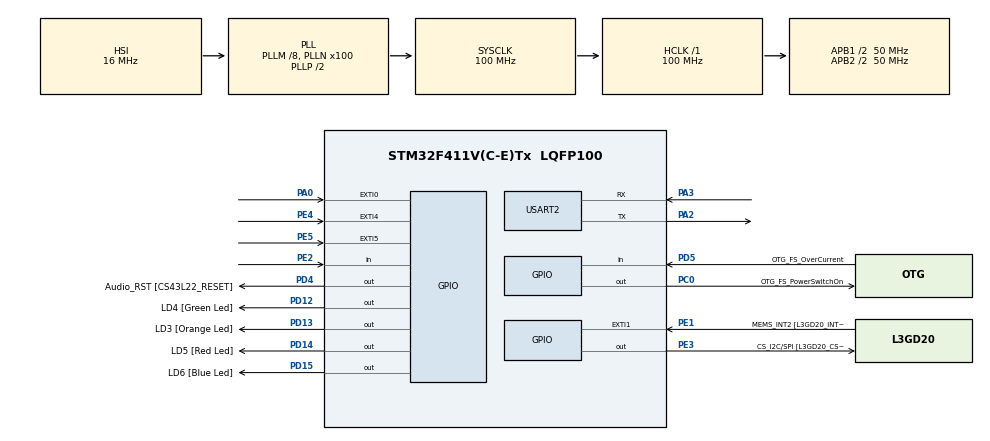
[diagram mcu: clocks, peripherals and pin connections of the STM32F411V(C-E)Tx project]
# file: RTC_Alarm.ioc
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Dma.Request0=USART2_RX
Dma.USART2_RX.0.Direction=DMA_PERIPH_TO_MEMORY
Dma.USART2_RX.0.FIFOMode=DMA_FIFOMODE_DISABLE
Dma.USART2_RX.0.Instance=DMA1_Stream5
Dma.USART2_RX.0.MemDataAlignment=DMA_MDATAALIGN_BYTE
Dma.USART2_RX.0.MemInc=DMA_MINC_ENABLE
Dma.USART2_RX.0.Mode=DMA_NORMAL
Dma.USART2_RX.0.PeriphDataAlignment=DMA_PDATAALIGN_BYTE
Dma.USART2_RX.0.PeriphInc=DMA_PINC_DISABLE
Dma.USART2_RX.0.Priority=DMA_PRIORITY_LOW
Mcu.Family=STM32F4
Mcu.Name=STM32F411V(C-E)Tx
Mcu.Package=LQFP100
NVIC.DMA1_Stream5_IRQn=true\:0\:0\:false\:false\:true\:false
NVIC.PriorityGroup=NVIC_PRIORITYGROUP_0
NVIC.RTC_Alarm_IRQn=true\:0\:0\:false\:false\:true\:true
PA0-WKUP.GPIO_ModeDefaultEXTI=GPIO_MODE_EVT_RISING
PA0-WKUP.Signal=GPXTI0
PA2.Mode=Asynchronous
PA2.Signal=USART2_TX
PA3.Mode=Asynchronous
PA3.Signal=USART2_RX
PC0.GPIO_Label=OTG_FS_PowerSwitchOn
PC0.PinState=GPIO_PIN_SET
PC0.Signal=GPIO_Output
PC14-OSC32_IN.Mode=LSE-External-Clock-Source
PC14-OSC32_IN.Signal=RCC_OSC32_IN
PC15-OSC32_OUT.Mode=LSE-External-Clock-Source
PC15-OSC32_OUT.Signal=RCC_OSC32_OUT
PD12.GPIO_Label=LD4 [Green Led]
PD12.GPIO_PuPd=GPIO_NOPULL
PD12.GPIO_Speed=GPIO_SPEED_FREQ_LOW
PD12.Signal=GPIO_Output
PD13.GPIO_Label=LD3 [Orange Led]
PD13.GPIO_PuPd=GPIO_NOPULL
PD13.GPIO_Speed=GPIO_SPEED_FREQ_LOW
PD13.Signal=GPIO_Output
PD14.GPIO_Label=LD5 [Red Led]
PD14.GPIO_PuPd=GPIO_NOPULL
PD14.GPIO_Speed=GPIO_SPEED_FREQ_LOW
PD14.Signal=GPIO_Output
PD15.GPIO_Label=LD6 [Blue Led]
PD15.GPIO_PuPd=GPIO_NOPULL
PD15.GPIO_Speed=GPIO_SPEED_FREQ_LOW
PD15.Signal=GPIO_Output
PD4.GPIO_Label=Audio_RST [CS43L22_RESET]
PD4.Signal=GPIO_Output
PD5.GPIO_Label=OTG_FS_OverCurrent
PD5.Signal=GPIO_Input
PE1.GPIO_Label=MEMS_INT2 [L3GD20_INT2]
PE1.GPIO_ModeDefaultEXTI=GPIO_MODE_EVT_RISING
PE1.Signal=GPXTI1
PE2.Signal=GPIO_Input
PE3.GPIO_Label=CS_I2C/SPI [L3GD20_CS_I2C/SPI]
PE3.Signal=GPIO_Output
PE4.GPIO_ModeDefaultEXTI=GPIO_MODE_EVT_RISING
PE4.Signal=GPXTI4
PE5.GPIO_ModeDefaultEXTI=GPIO_MODE_EVT_RISING
PE5.Signal=GPXTI5
ProjectManager.HeapSize=0x200
ProjectManager.StackSize=0x400
ProjectManager.TargetToolchain=SW4STM32
RCC.48MHZClocksFreq_Value=25000000
RCC.AHBFreq_Value=100000000
RCC.APB1CLKDivider=RCC_HCLK_DIV2
RCC.APB1Freq_Value=50000000
RCC.APB1TimFreq_Value=100000000
RCC.APB2CLKDivider=RCC_HCLK_DIV2
RCC.APB2Freq_Value=50000000
RCC.APB2TimFreq_Value=100000000
RCC.CortexFreq_Value=100000000
RCC.HCLKFreq_Value=100000000
RCC.HSE_VALUE=8000000
RCC.HSI_VALUE=16000000
RCC.LSE_VALUE=32768
RCC.PLLI2SM=5
RCC.PLLI2SN=200
RCC.PLLM=8
RCC.PLLN=100
RCC.PLLQ=8
RCC.SYSCLKFreq_VALUE=100000000
RCC.SYSCLKSource=RCC_SYSCLKSOURCE_PLLCLK
RCC.VCOOutputFreq_Value=200000000
RTC.Alarm=RTC_ALARM_A
RTC.Date=12
RTC.Format=RTC_FORMAT_BIN
RTC.Hours=23
RTC.Minutes=59
RTC.Month=RTC_MONTH_JULY
RTC.Seconds=45
RTC.Seconds_A=10
RTC.WeekDay=RTC_WEEKDAY_THURSDAY
RTC.Year=18
USART2.VirtualMode=VM_ASYNC
VP_RTC_VS_RTC_Activate.Mode=RTC_Enabled
VP_RTC_VS_RTC_Alarm_A_Intern.Mode=Alarm A
VP_RTC_VS_RTC_Calendar.Mode=RTC_Calendar
board=32F411EDISCOVERY

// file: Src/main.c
/**
  ******************************************************************************
  * @file           : main.c
  * @brief          : Main program body
  ******************************************************************************
  ** This notice applies to any and all portions of this file
  * that are not between comment pairs USER CODE BEGIN and
  * USER CODE END. Other portions of this file, whether
  * inserted by the user or by software development tools
  * are owned by their respective copyright owners.
  *
  * COPYRIGHT(c) 2018 STMicroelectronics
  *
  * Redistribution and use in source and binary forms, with or without modification,
  * are permitted provided that the following conditions are met:
  *   1. Redistributions of source code must retain the above copyright notice,
  *      this list of conditions and the following disclaimer.
  *   2. Redistributions in binary form must reproduce the above copyright notice,
  *      this list of conditions and the following disclaimer in the documentation
  *      and/or other materials provided with the distribution.
  *   3. Neither the name of STMicroelectronics nor the names of its contributors
  *      may be used to endorse or promote products derived from this software
  *      without specific prior written permission.
  *
  * THIS SOFTWARE IS PROVIDED BY THE COPYRIGHT HOLDERS AND CONTRIBUTORS "AS IS"
  * AND ANY EXPRESS OR IMPLIED WARRANTIES, INCLUDING, BUT NOT LIMITED TO, THE
  * IMPLIED WARRANTIES OF MERCHANTABILITY AND FITNESS FOR A PARTICULAR PURPOSE ARE
  * DISCLAIMED. IN NO EVENT SHALL THE COPYRIGHT HOLDER OR CONTRIBUTORS BE LIABLE
  * FOR ANY DIRECT, INDIRECT, INCIDENTAL, SPECIAL, EXEMPLARY, OR CONSEQUENTIAL
  * DAMAGES (INCLUDING, BUT NOT LIMITED TO, PROCUREMENT OF SUBSTITUTE GOODS OR
  * SERVICES; LOSS OF USE, DATA, OR PROFITS; OR BUSINESS INTERRUPTION) HOWEVER
  * CAUSED AND ON ANY THEORY OF LIABILITY, WHETHER IN CONTRACT, STRICT LIABILITY,
  * OR TORT (INCLUDING NEGLIGENCE OR OTHERWISE) ARISING IN ANY WAY OUT OF THE USE
  * OF THIS SOFTWARE, EVEN IF ADVISED OF THE POSSIBILITY OF SUCH DAMAGE.
  *
  ******************************************************************************
  */
#include "main.h"
#include "stm32f4xx_hal.h"

/* USER CODE BEGIN Includes */
#include <string.h>
/* USER CODE END Includes */

RTC_HandleTypeDef hrtc;

UART_HandleTypeDef huart2;
DMA_HandleTypeDef hdma_usart2_rx;

/* USER CODE BEGIN PV */
/* Private variables ---------------------------------------------------------*/

/* USER CODE END PV */

void SystemClock_Config(void);
static void MX_GPIO_Init(void);
static void MX_DMA_Init(void);
static void MX_RTC_Init(void);
static void MX_USART2_UART_Init(void);

/* USER CODE BEGIN PFP */
/* Private function prototypes -----------------------------------------------*/

/* USER CODE END PFP */

int main(void)
{

  /* MCU Configuration----------------------------------------------------------*/

  /* Reset of all peripherals, Initializes the Flash interface and the Systick. */
  HAL_Init();

  /* Configure the system clock */
  SystemClock_Config();

  /* Initialize all configured peripherals */
  MX_GPIO_Init();
  MX_DMA_Init();
  MX_RTC_Init();
  MX_USART2_UART_Init();
  /* USER CODE BEGIN 2 */

  RTC_TimeTypeDef sTime;
  RTC_DateTypeDef sDate;

  sTime.Hours = 23;
  sTime.Minutes = 59;
  sTime.Seconds = 45;
  sTime.DayLightSaving = RTC_DAYLIGHTSAVING_NONE;
  sTime.StoreOperation = RTC_STOREOPERATION_RESET;
  if (HAL_RTC_SetTime(&hrtc, &sTime, RTC_FORMAT_BIN) != HAL_OK)
  {
    _Error_Handler(__FILE__, __LINE__);
  }

  sDate.WeekDay = RTC_WEEKDAY_THURSDAY;
  sDate.Month = RTC_MONTH_JULY;
  sDate.Date = 12;
  sDate.Year = 18;

  if (HAL_RTC_SetDate(&hrtc, &sDate, RTC_FORMAT_BIN) != HAL_OK)
  {
    _Error_Handler(__FILE__, __LINE__);
  }
  /* USER CODE END 2 */

  /* Infinite loop */
  while (1)
  {

  /* USER CODE BEGIN 3 */
	  HAL_RTC_GetTime(&hrtc, &sTime, RTC_FORMAT_BIN);
	  HAL_RTC_GetDate(&hrtc, &sDate, RTC_FORMAT_BIN);

	  uint8_t txData[30];
	  char seconds[5];
	  char minutes[5];
	  char hours[5];

	  sprintf(seconds, "%d", sTime.Seconds);
	  sprintf(minutes, "%d", sTime.Minutes);
	  sprintf(hours, "%d", sTime.Hours);

	  if(sTime.Seconds < 10) {
		  sprintf(seconds, "0%d", sTime.Seconds);
	  }

	  if(sTime.Minutes < 10) {
		  sprintf(minutes, "0%d", sTime.Minutes);
	  }

	  if(sTime.Hours < 10) {
		  sprintf(hours, "0%d", sTime.Hours);
	  }

	  char day[5];
	  char month[5];
	  char year[5];

	  sprintf(day, "%d", sDate.Date);
	  sprintf(month, "%d", sDate.Month);
	  sprintf(year, "%d", sDate.Year);

	  if(sDate.Date < 10) {
		  sprintf(day, "0%d", sDate.Date);
	  }

	  if(sDate.Month < 10) {
		  sprintf(month, "0%d", sDate.Month);
	  }

	  if(sDate.Year< 10) {
		  sprintf(year, "0%d", sDate.Year);
	  }

	  uint16_t size = sprintf(txData, "%s:%s:%s %s:%s:%s \r", day, month, year, hours, minutes, seconds);

	  HAL_UART_Transmit(&huart2, txData, size, 20);
	  HAL_Delay(1000);

  }
  /* USER CODE END 3 */

}

void SystemClock_Config(void)
{

  RCC_OscInitTypeDef RCC_OscInitStruct;
  RCC_ClkInitTypeDef RCC_ClkInitStruct;
  RCC_PeriphCLKInitTypeDef PeriphClkInitStruct;

    /**Configure the main internal regulator output voltage
    */
  __HAL_RCC_PWR_CLK_ENABLE();

  __HAL_PWR_VOLTAGESCALING_CONFIG(PWR_REGULATOR_VOLTAGE_SCALE1);

    /**Initializes the CPU, AHB and APB busses clocks
    */
  RCC_OscInitStruct.OscillatorType = RCC_OSCILLATORTYPE_HSI|RCC_OSCILLATORTYPE_LSI;
  RCC_OscInitStruct.HSIState = RCC_HSI_ON;
  RCC_OscInitStruct.HSICalibrationValue = 16;
  RCC_OscInitStruct.LSIState = RCC_LSI_ON;
  RCC_OscInitStruct.PLL.PLLState = RCC_PLL_ON;
  RCC_OscInitStruct.PLL.PLLSource = RCC_PLLSOURCE_HSI;
  RCC_OscInitStruct.PLL.PLLM = 8;
  RCC_OscInitStruct.PLL.PLLN = 100;
  RCC_OscInitStruct.PLL.PLLP = RCC_PLLP_DIV2;
  RCC_OscInitStruct.PLL.PLLQ = 8;
  if (HAL_RCC_OscConfig(&RCC_OscInitStruct) != HAL_OK)
  {
    _Error_Handler(__FILE__, __LINE__);
  }

    /**Initializes the CPU, AHB and APB busses clocks
    */
  RCC_ClkInitStruct.ClockType = RCC_CLOCKTYPE_HCLK|RCC_CLOCKTYPE_SYSCLK
                              |RCC_CLOCKTYPE_PCLK1|RCC_CLOCKTYPE_PCLK2;
  RCC_ClkInitStruct.SYSCLKSource = RCC_SYSCLKSOURCE_PLLCLK;
  RCC_ClkInitStruct.AHBCLKDivider = RCC_SYSCLK_DIV1;
  RCC_ClkInitStruct.APB1CLKDivider = RCC_HCLK_DIV2;
  RCC_ClkInitStruct.APB2CLKDivider = RCC_HCLK_DIV2;

  if (HAL_RCC_ClockConfig(&RCC_ClkInitStruct, FLASH_LATENCY_3) != HAL_OK)
  {
    _Error_Handler(__FILE__, __LINE__);
  }

  PeriphClkInitStruct.PeriphClockSelection = RCC_PERIPHCLK_RTC;
  PeriphClkInitStruct.RTCClockSelection = RCC_RTCCLKSOURCE_LSI;
  if (HAL_RCCEx_PeriphCLKConfig(&PeriphClkInitStruct) != HAL_OK)
  {
    _Error_Handler(__FILE__, __LINE__);
  }

    /**Configure the Systick interrupt time
    */
  HAL_SYSTICK_Config(HAL_RCC_GetHCLKFreq()/1000);

    /**Configure the Systick
    */
  HAL_SYSTICK_CLKSourceConfig(SYSTICK_CLKSOURCE_HCLK);

  /* SysTick_IRQn interrupt configuration */
  HAL_NVIC_SetPriority(SysTick_IRQn, 0, 0);
}

/* RTC init function */
static void MX_RTC_Init(void)
{

  RTC_TimeTypeDef sTime;
  RTC_DateTypeDef sDate;
  RTC_AlarmTypeDef sAlarm;

    /**Initialize RTC Only
    */
  hrtc.Instance = RTC;
  hrtc.Init.HourFormat = RTC_HOURFORMAT_24;
  hrtc.Init.AsynchPrediv = 127;
  hrtc.Init.SynchPrediv = 255;
  hrtc.Init.OutPut = RTC_OUTPUT_DISABLE;
  hrtc.Init.OutPutPolarity = RTC_OUTPUT_POLARITY_HIGH;
  hrtc.Init.OutPutType = RTC_OUTPUT_TYPE_OPENDRAIN;
  if (HAL_RTC_Init(&hrtc) != HAL_OK)
  {
    _Error_Handler(__FILE__, __LINE__);
  }

    /**Initialize RTC and set the Time and Date
    */
  sTime.Hours = 23;
  sTime.Minutes = 59;
  sTime.Seconds = 45;
  sTime.DayLightSaving = RTC_DAYLIGHTSAVING_NONE;
  sTime.StoreOperation = RTC_STOREOPERATION_RESET;
  if (HAL_RTC_SetTime(&hrtc, &sTime, RTC_FORMAT_BIN) != HAL_OK)
  {
    _Error_Handler(__FILE__, __LINE__);
  }

  sDate.WeekDay = RTC_WEEKDAY_THURSDAY;
  sDate.Month = RTC_MONTH_JULY;
  sDate.Date = 12;
  sDate.Year = 18;

  if (HAL_RTC_SetDate(&hrtc, &sDate, RTC_FORMAT_BIN) != HAL_OK)
  {
    _Error_Handler(__FILE__, __LINE__);
  }

    /**Enable the Alarm A
    */
  sAlarm.AlarmTime.Hours = 0;
  sAlarm.AlarmTime.Minutes = 0;
  sAlarm.AlarmTime.Seconds = 10;
  sAlarm.AlarmTime.SubSeconds = 0;
  sAlarm.AlarmTime.DayLightSaving = RTC_DAYLIGHTSAVING_NONE;
  sAlarm.AlarmTime.StoreOperation = RTC_STOREOPERATION_RESET;
  sAlarm.AlarmMask = RTC_ALARMMASK_NONE;
  sAlarm.AlarmSubSecondMask = RTC_ALARMSUBSECONDMASK_ALL;
  sAlarm.AlarmDateWeekDaySel = RTC_ALARMDATEWEEKDAYSEL_DATE;
  sAlarm.AlarmDateWeekDay = 13;
  sAlarm.Alarm = RTC_ALARM_A;
  if (HAL_RTC_SetAlarm_IT(&hrtc, &sAlarm, RTC_FORMAT_BIN) != HAL_OK)
  {
    _Error_Handler(__FILE__, __LINE__);
  }

}

/* USART2 init function */
static void MX_USART2_UART_Init(void)
{

  huart2.Instance = USART2;
  huart2.Init.BaudRate = 115200;
  huart2.Init.WordLength = UART_WORDLENGTH_8B;
  huart2.Init.StopBits = UART_STOPBITS_1;
  huart2.Init.Parity = UART_PARITY_NONE;
  huart2.Init.Mode = UART_MODE_TX_RX;
  huart2.Init.HwFlowCtl = UART_HWCONTROL_NONE;
  huart2.Init.OverSampling = UART_OVERSAMPLING_16;
  if (HAL_UART_Init(&huart2) != HAL_OK)
  {
    _Error_Handler(__FILE__, __LINE__);
  }

}

static void MX_DMA_Init(void)
{
  /* DMA controller clock enable */
  __HAL_RCC_DMA1_CLK_ENABLE();

  /* DMA interrupt init */
  /* DMA1_Stream5_IRQn interrupt configuration */
  HAL_NVIC_SetPriority(DMA1_Stream5_IRQn, 0, 0);
  HAL_NVIC_EnableIRQ(DMA1_Stream5_IRQn);

}

/** Configure pins as
        * Analog
        * Input
        * Output
        * EVENT_OUT
        * EXTI
*/
static void MX_GPIO_Init(void)
{

  GPIO_InitTypeDef GPIO_InitStruct;

  /* GPIO Ports Clock Enable */
  __HAL_RCC_GPIOE_CLK_ENABLE();
  __HAL_RCC_GPIOC_CLK_ENABLE();
  __HAL_RCC_GPIOA_CLK_ENABLE();
  __HAL_RCC_GPIOD_CLK_ENABLE();

  /*Configure GPIO pin Output Level */
  HAL_GPIO_WritePin(CS_I2C_SPI_GPIO_Port, CS_I2C_SPI_Pin, GPIO_PIN_RESET);

  /*Configure GPIO pin Output Level */
  HAL_GPIO_WritePin(OTG_FS_PowerSwitchOn_GPIO_Port, OTG_FS_PowerSwitchOn_Pin, GPIO_PIN_SET);

  /*Configure GPIO pin Output Level */
  HAL_GPIO_WritePin(GPIOD, LD4_Pin|LD3_Pin|LD5_Pin|LD6_Pin
                          |Audio_RST_Pin, GPIO_PIN_RESET);

  /*Configure GPIO pin : PE2 */
  GPIO_InitStruct.Pin = GPIO_PIN_2;
  GPIO_InitStruct.Mode = GPIO_MODE_INPUT;
  GPIO_InitStruct.Pull = GPIO_NOPULL;
  HAL_GPIO_Init(GPIOE, &GPIO_InitStruct);

  /*Configure GPIO pin : CS_I2C_SPI_Pin */
  GPIO_InitStruct.Pin = CS_I2C_SPI_Pin;
  GPIO_InitStruct.Mode = GPIO_MODE_OUTPUT_PP;
  GPIO_InitStruct.Pull = GPIO_NOPULL;
  GPIO_InitStruct.Speed = GPIO_SPEED_FREQ_LOW;
  HAL_GPIO_Init(CS_I2C_SPI_GPIO_Port, &GPIO_InitStruct);

  /*Configure GPIO pins : PE4 PE5 MEMS_INT2_Pin */
  GPIO_InitStruct.Pin = GPIO_PIN_4|GPIO_PIN_5|MEMS_INT2_Pin;
  GPIO_InitStruct.Mode = GPIO_MODE_EVT_RISING;
  GPIO_InitStruct.Pull = GPIO_NOPULL;
  HAL_GPIO_Init(GPIOE, &GPIO_InitStruct);

  /*Configure GPIO pin : OTG_FS_PowerSwitchOn_Pin */
  GPIO_InitStruct.Pin = OTG_FS_PowerSwitchOn_Pin;
  GPIO_InitStruct.Mode = GPIO_MODE_OUTPUT_PP;
  GPIO_InitStruct.Pull = GPIO_NOPULL;
  GPIO_InitStruct.Speed = GPIO_SPEED_FREQ_LOW;
  HAL_GPIO_Init(OTG_FS_PowerSwitchOn_GPIO_Port, &GPIO_InitStruct);

  /*Configure GPIO pin : PA0 */
  GPIO_InitStruct.Pin = GPIO_PIN_0;
  GPIO_InitStruct.Mode = GPIO_MODE_EVT_RISING;
  GPIO_InitStruct.Pull = GPIO_NOPULL;
  HAL_GPIO_Init(GPIOA, &GPIO_InitStruct);

  /*Configure GPIO pins : LD4_Pin LD3_Pin LD5_Pin LD6_Pin
                           Audio_RST_Pin */
  GPIO_InitStruct.Pin = LD4_Pin|LD3_Pin|LD5_Pin|LD6_Pin
                          |Audio_RST_Pin;
  GPIO_InitStruct.Mode = GPIO_MODE_OUTPUT_PP;
  GPIO_InitStruct.Pull = GPIO_NOPULL;
  GPIO_InitStruct.Speed = GPIO_SPEED_FREQ_LOW;
  HAL_GPIO_Init(GPIOD, &GPIO_InitStruct);

  /*Configure GPIO pin : OTG_FS_OverCurrent_Pin */
  GPIO_InitStruct.Pin = OTG_FS_OverCurrent_Pin;
  GPIO_InitStruct.Mode = GPIO_MODE_INPUT;
  GPIO_InitStruct.Pull = GPIO_NOPULL;
  HAL_GPIO_Init(OTG_FS_OverCurrent_GPIO_Port, &GPIO_InitStruct);

}

/* USER CODE BEGIN 4 */
void HAL_RTC_AlarmAEventCallback(RTC_HandleTypeDef *hrtc) {
	HAL_GPIO_TogglePin(GPIOD, GPIO_PIN_15);
}
/* USER CODE END 4 */

void _Error_Handler(char *file, int line)
{
  while(1)
  {
  }
}

/************************ (C) COPYRIGHT STMicroelectronics *****END OF FILE****/
